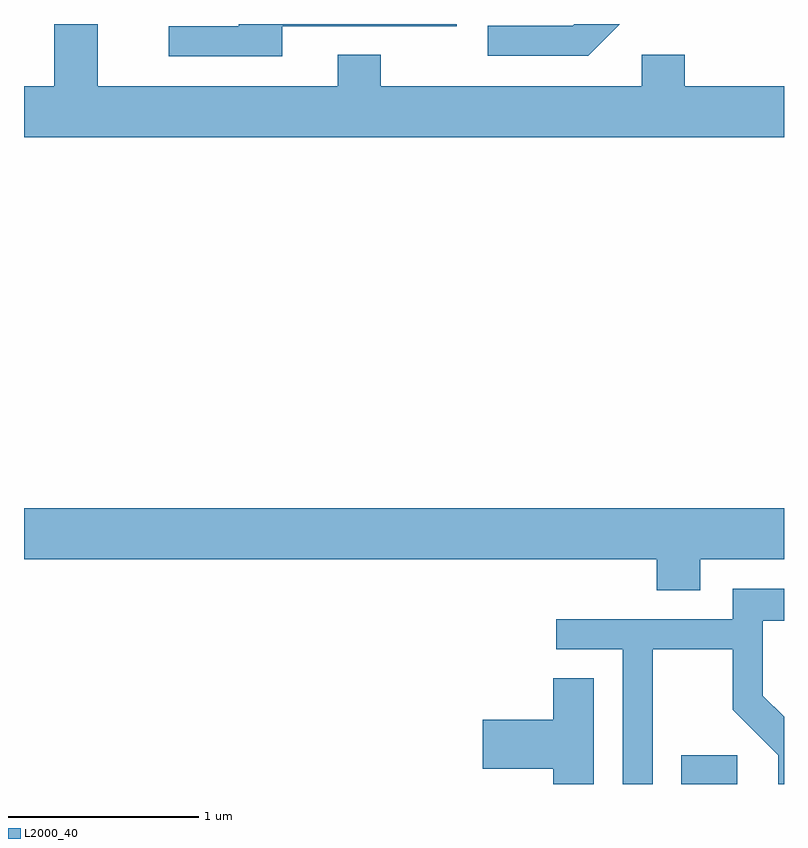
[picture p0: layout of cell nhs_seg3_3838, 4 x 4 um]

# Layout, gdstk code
import gdstk
lib = gdstk.Library(unit=1e-6, precision=1e-09)
def R(c, l, rs):  # rectangles x0, y0, x1, y1
    for r in rs: c.add(gdstk.rectangle(r[:2], r[2:], *l))
def P(c, l, *ps):  # polygons
    for p in ps: c.add(gdstk.Polygon(p, *l))
L2000_40 = (2000, 40)

nhs_seg3_3838 = lib.new_cell('nhs_seg3_3838')
R(nhs_seg3_3838, L2000_40, [(301.071,1175.892,301.364,1176.044)])
P(nhs_seg3_3838, L2000_40, [(301.611,1179.564),(301.089,1179.564),(301.089,1179.729),(300.861,1179.729),(300.861,1179.564),(299.489,1179.564),(299.489,1179.729),(299.261,1179.729),(299.261,1179.564),(297.999,1179.564),(297.999,1179.892),(297.771,1179.892),(297.771,1179.564),(297.611,1179.564),(297.611,1179.296),(301.611,1179.296)],
  [(300.747,1179.892),(300.507,1179.892),(300.499,1179.884),(300.053,1179.884),(300.053,1179.726),(300.582,1179.726)],
  [(298.969,1179.881),(299.889,1179.881),(299.889,1179.892),(298.741,1179.892),(298.741,1179.879),(298.373,1179.879),(298.373,1179.721),(298.969,1179.721)],
  [(301.169,1177.076),(301.611,1177.076),(301.611,1177.344),(297.611,1177.344),(297.611,1177.076),(300.941,1177.076),(300.941,1176.911),(301.169,1176.911)],
  [(300.919,1176.601),(301.341,1176.601),(301.341,1176.284),(301.581,1176.044),(301.581,1175.892),(301.611,1175.892),(301.611,1176.245),(301.499,1176.357),(301.499,1176.751),(301.611,1176.751),(301.611,1176.919),(301.341,1176.919),(301.341,1176.759),(300.413,1176.759),(300.413,1176.601),(300.761,1176.601),(300.761,1175.892),(300.919,1175.892)],
  [(300.609,1176.449),(300.396,1176.449),(300.396,1176.229),(300.026,1176.229),(300.026,1175.971),(300.396,1175.971),(300.396,1175.892),(300.609,1175.892)])

lib.write_gds('nhs_seg3_3838.gds')
